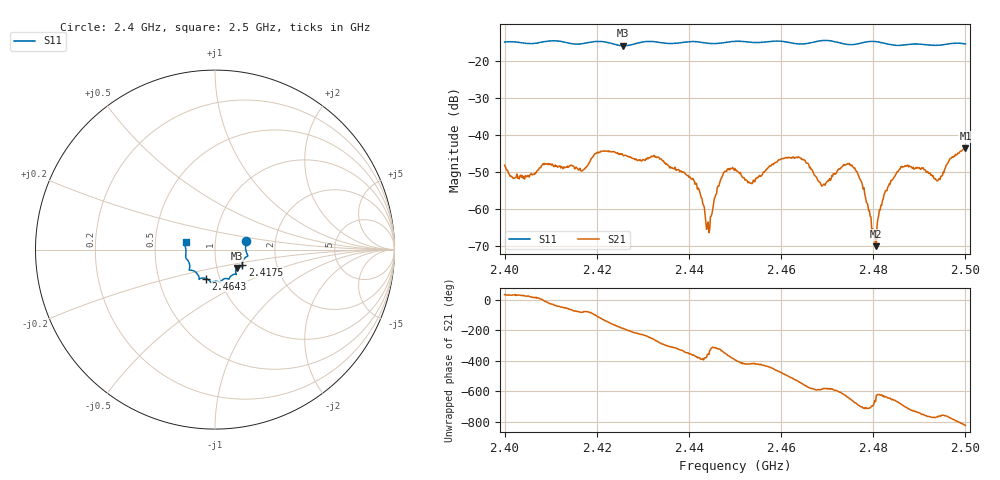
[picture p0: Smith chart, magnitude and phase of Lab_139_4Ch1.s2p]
# Hz S RI R 50
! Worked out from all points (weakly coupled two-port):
!   601 points, 2.4 GHz to 2.5 GHz, reference 50 ohm
!   highest |S21| = -43.64 dB at 2.5 GHz (marker M1); lowest = -70.0 dB at 2.4807 GHz (marker M2)
!   lowest |S11| = -15.9 dB at 2.4257 GHz (marker M3), VSWR 1.38, Z = 62.4 - j13.1 ohm
!   |S11| at or under -10 dB: start of sweep to end of sweep
!   S12 and S22 are empty: the file has one direction only
!   S11 on the Smith chart (normalised r, x): 2.4 GHz: 1.41, +0.14; 2.4175 GHz: 1.34, -0.23; 2.4643 GHz: 0.86, -0.29; 2.5 GHz: 0.72, +0.06
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2.4e9  0.1729 0.0489  0.00328 0.00211  0 0  0 0
2.416667e9  0.153 -0.0737  0.000412 -0.00324  0 0  0 0
2.4175e9  0.1521 -0.0831  0.000671 -0.00353  0 0  0 0
2.4205e9  0.1543 -0.0976  -0.0026 -0.00521  0 0  0 0
2.425667e9  0.1225 -0.102  -0.00529 0.000742  0 0  0 0
2.433333e9  0.1134 -0.1374  0.000655 0.00499  0 0  0 0
2.441167e9  0.0768 -0.1649  0.00236 -0.000267  0 0  0 0
2.444167e9  0.0623 -0.1606  0.000669 3.9e-05  0 0  0 0
2.447333e9  0.0387 -0.1703  0.00267 0.000996  0 0  0 0
2.45e9  0.0289 -0.1811  0.00289 -0.002  0 0  0 0
2.453333e9  0.015 -0.1775  0.00112 -0.00194  0 0  0 0
2.464333e9  -0.0498 -0.161  -0.00481 0.000598  0 0  0 0
2.466667e9  -0.0759 -0.1596  -0.00255 0.00229  0 0  0 0
2.469167e9  -0.0883 -0.1661  -0.00159 0.00144  0 0  0 0
2.475667e9  -0.1127 -0.1216  0.00223 0.00293  0 0  0 0
2.477833e9  -0.1339 -0.1151  0.00184 0.000258  0 0  0 0
2.480167e9  -0.1437 -0.1126  0.000351 0.000278  0 0  0 0
2.480667e9  -0.1434 -0.1109  -1.95e-05 0.000315  0 0  0 0
2.483333e9  -0.141 -0.0903  0.000502 0.00198  0 0  0 0
2.487e9  -0.1549 -0.0559  0.00373 0.00101  0 0  0 0
2.494167e9  -0.1621 0.000134  0.00172 -0.00185  0 0  0 0
2.5e9  -0.1635 0.0429  -0.0017 -0.00635  0 0  0 0
